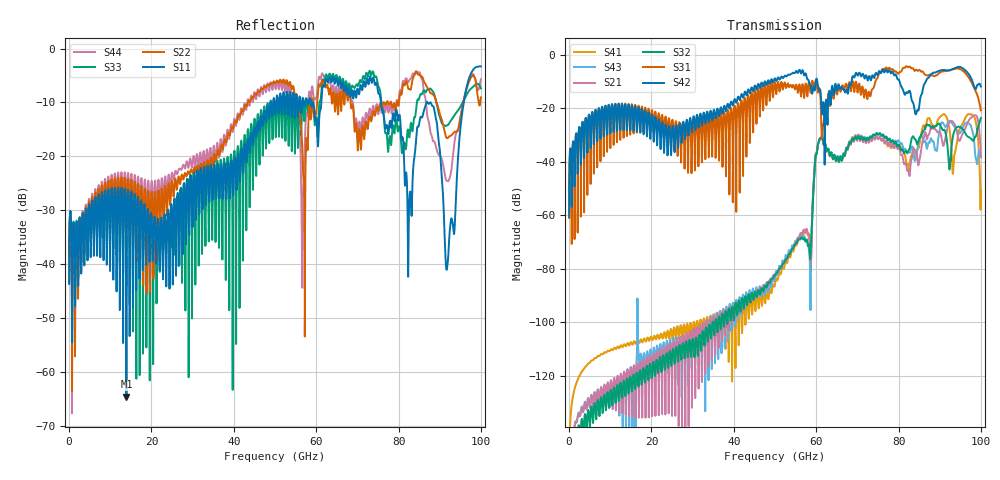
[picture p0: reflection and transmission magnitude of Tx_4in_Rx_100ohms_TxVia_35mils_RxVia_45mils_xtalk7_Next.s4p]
! Info: Touchstone file created by Circ.  Input file=Tx_4in_Rx_100ohms_TxVia_35mils_RxVia_45mils.circ
# Hz S RI R 50
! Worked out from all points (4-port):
!   10000 points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, 10 MHz to 100 GHz, reference 50 ohm
!   strongest paths, dB at 10 MHz, 25.01 GHz, 50.01 GHz, 75.01 GHz, 100 GHz:
!     S42: -60.5, -28.6, -8.7, -7.1, -11.7
!     S31: -61.0, -24.6, -10.3, -8.0, -20.7
!     S32: -179.6, -113.1, -82.2, -29.8, -23.6
!     S21: -175.1, -132.5, -83.1, -31.5, -38.2
!     S43: -174.8, -116.2, -83.6, -29.7, -37.9
!     S41: -161.9, -105.2, -85.9, -31.2, -50.6
!   lowest |S11| = -64.6 dB at 13.92 GHz (marker M1), VSWR 1.00, Z = 50 + j0.0578 ohm
!   |S11| at or under -10 dB: start of sweep to 48.85 GHz; 75.73 GHz to 86.75 GHz (11.02 GHz wide, 13.6 % of centre); 87.8 GHz to 95.85 GHz (8.045 GHz wide, 8.76 % of centre) (the widest 3 of 18)
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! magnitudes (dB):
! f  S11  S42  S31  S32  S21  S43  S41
! 10 MHz  -43.6  -60.5  -61.0  -179.6  -175.1  -174.8  -161.9
! 13.92 GHz  -64.6  -23.4  -24.1  -122.6  -122.6  -125.3  -108.8
! 58.36 GHz  -9.3  -10.6  -10.6  -72.4  -68.0  -74.5  -70.1
! 60.9 GHz  -11.7  -12.9  -13.4  -31.1  -31.2  -31.4  -31.4
! 73.47 GHz  -6.4  -8.5  -13.2  -31.0  -32.3  -30.6  -31.7
! 91.76 GHz  -40.9  -5.8  -5.9  -32.3  -28.1  -26.0  -23.6
! 100 GHz  -3.3  -11.7  -20.7  -23.6  -38.2  -37.9  -50.6
